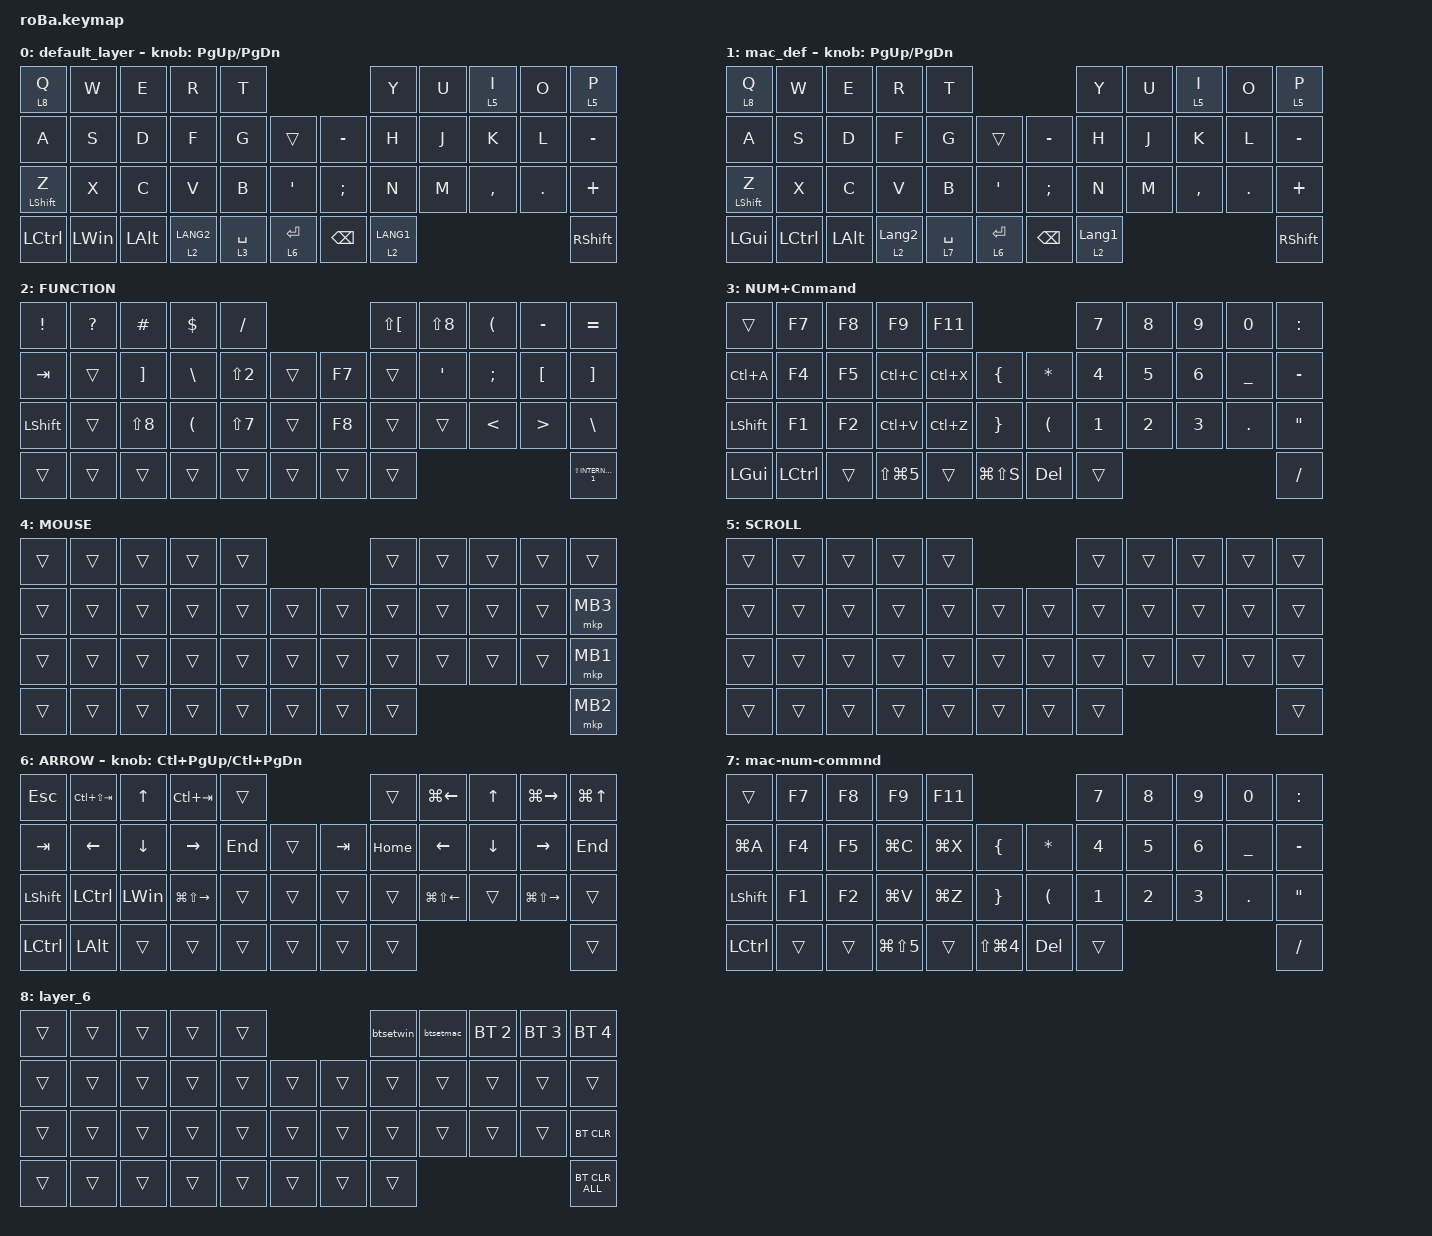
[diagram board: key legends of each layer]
#include <input/processors.dtsi>
#include <behaviors.dtsi>
#include <dt-bindings/zmk/bt.h>
#include <dt-bindings/zmk/keys.h>
#include <dt-bindings/zmk/pointing.h>

#define MOUSE 4 // 各自のマウスレイヤーに合わせて設定

&mkp_input_listener { input-processors = <&zip_temp_layer MOUSE 250>; };

&mt {
    flavor = "balanced";
    quick-tap-ms = <0>;
};

&trackball {
    automouse-layer = <4>;
    scroll-layers = <5>;

    // arrows {
    //     layers = <3>;
    //     bindings =
    //         <&kp RIGHT_ARROW>,
    //         <&kp LEFT_ARROW>,
    //         <&kp UP_ARROW>,
    //         <&kp DOWN_ARROW>;
    //     tick = <10>;
    //     wait-ms = <5>;
    //     tap-ms = <5>;
    // };
};

/ {
    combos { compatible = "zmk,combos"; };

    macros {
        btsetwin: to_layer_0 {
            compatible = "zmk,behavior-macro";
            #binding-cells = <0>;
            bindings = <&bt BT_SEL 0>, <&macro_wait_time 200>, <&to 0>;

            label = "TO_LAYER_0";
        };

        btsetmac: btsetmac {
            compatible = "zmk,behavior-macro";
            #binding-cells = <0>;
            bindings = <&bt BT_SEL 1>, <&macro_wait_time 200>, <&to 1>;

            label = "BTSETMAC";
        };

        BT3: BT3 {
            compatible = "zmk,behavior-macro";
            #binding-cells = <0>;
            bindings = <&bt BT_SEL 2>, <&macro_wait_time 200>, <&to 1>;

            label = "BT3";
        };
    };

    behaviors {
        lt_to_layer_0: lt_to_layer_0 {
            compatible = "zmk,behavior-hold-tap";
            label = "LAYER_TAP_TO_0";
            bindings = <&mo>, <&btsetwin>;

            #binding-cells = <2>;
            tapping-term-ms = <200>;
        };
    };

    keymap {
        compatible = "zmk,keymap";

        default_layer {
            bindings = <
&lt 8 Q           &kp W         &kp E         &kp R        &kp T                                        &kp Y        &kp U  &lt 5 I    &kp O    &lt 5 P
&kp A             &kp S         &kp D         &kp F        &kp G        &trans           &kp MINUS      &kp H        &kp J  &kp K      &kp L    &kp MINUS
&mt LEFT_SHIFT Z  &kp X         &kp C         &kp V        &kp B        &kp SQT          &kp SEMICOLON  &kp N        &kp M  &kp COMMA  &kp DOT  &kp PLUS
&kp LCTRL         &kp LEFT_WIN  &kp LEFT_ALT  &lt 2 LANG2  &lt 3 SPACE  &lt 6 ENTER      &kp BACKSPACE  &lt 2 LANG1                             &kp RIGHT_SHIFT
            >;

            sensor-bindings = <&inc_dec_kp PG_UP PAGE_DOWN>;
        };

        mac_def {
            bindings = <
&lt 8 Q           &kp W             &kp E         &kp R             &kp T                                        &kp Y             &kp U  &lt 5 I    &kp O    &lt 5 P
&kp A             &kp S             &kp D         &kp F             &kp G        &trans           &kp MINUS      &kp H             &kp J  &kp K      &kp L    &kp MINUS
&mt LEFT_SHIFT Z  &kp X             &kp C         &kp V             &kp B        &kp SQT          &kp SEMICOLON  &kp N             &kp M  &kp COMMA  &kp DOT  &kp PLUS
&kp LEFT_GUI      &kp LEFT_CONTROL  &kp LEFT_ALT  &lt 2 LANGUAGE_2  &lt 7 SPACE  &lt 6 ENTER      &kp BACKSPACE  &lt 2 LANGUAGE_1                             &kp RIGHT_SHIFT
            >;

            sensor-bindings = <&inc_dec_kp PG_UP PAGE_DOWN>;
        };

        FUNCTION {
            bindings = <
&kp EXCLAMATION  &kp QUESTION  &kp HASH           &kp DOLLAR            &kp SLASH                             &kp LS(LBKT)  &kp LS(N8)  &kp LEFT_PARENTHESIS  &kp MINUS         &kp EQUAL
&kp TAB          &trans        &kp RIGHT_BRACKET  &kp BSLH              &kp LS(NUMBER_2)  &trans      &kp F7  &trans        &kp SQT     &kp SEMICOLON         &kp LBKT          &kp RBKT
&kp LEFT_SHIFT   &trans        &kp LS(N8)         &kp LEFT_PARENTHESIS  &kp LS(NUMBER_7)  &trans      &kp F8  &trans        &trans      &kp LESS_THAN         &kp GREATER_THAN  &kp BSLH
&trans           &trans        &trans             &trans                &trans            &trans      &trans  &trans                                                            &kp LS(INTERNATIONAL_1)
            >;
        };

        NUM+Cmmand {
            bindings = <
&trans        &kp F7     &kp F8  &kp F9          &kp F11                                               &kp N7        &kp N8        &kp N9        &kp N0          &kp COLON
&kp LC(A)     &kp F4     &kp F5  &kp LC(C)       &kp LC(X)  &kp LEFT_BRACE       &kp ASTERISK          &kp NUMBER_4  &kp N5        &kp NUMBER_6  &kp UNDERSCORE  &kp MINUS
&kp LSHFT     &kp F1     &kp F2  &kp LC(V)       &kp LC(Z)  &kp RIGHT_BRACE      &kp LEFT_PARENTHESIS  &kp NUMBER_1  &kp NUMBER_2  &kp NUMBER_3  &kp PERIOD      &kp DOUBLE_QUOTES
&kp LEFT_GUI  &kp LCTRL  &trans  &kp LS(LG(N5))  &trans     &kp LG(LS(S))        &kp DEL               &trans                                                    &kp SLASH
            >;
        };

        MOUSE {
            bindings = <
&trans  &trans  &trans  &trans  &trans                      &trans  &trans  &trans  &trans  &trans
&trans  &trans  &trans  &trans  &trans  &trans      &trans  &trans  &trans  &trans  &trans  &mkp MB3
&trans  &trans  &trans  &trans  &trans  &trans      &trans  &trans  &trans  &trans  &trans  &mkp MB1
&trans  &trans  &trans  &trans  &trans  &trans      &trans  &trans                          &mkp MB2
            >;
        };

        SCROLL {
            bindings = <
&trans  &trans  &trans  &trans  &trans                      &trans  &trans  &trans  &trans  &trans
&trans  &trans  &trans  &trans  &trans  &trans      &trans  &trans  &trans  &trans  &trans  &trans
&trans  &trans  &trans  &trans  &trans  &trans      &trans  &trans  &trans  &trans  &trans  &trans
&trans  &trans  &trans  &trans  &trans  &trans      &trans  &trans                          &trans
            >;
        };

        ARROW {
            bindings = <
&kp ESCAPE      &kp LC(LS(TAB))   &kp UP_ARROW    &kp LC(TAB)              &trans                        &trans    &kp LG(LEFT_ARROW)      &kp UP_ARROW    &kp LG(RIGHT_ARROW)      &kp LG(UP_ARROW)
&kp TAB         &kp LEFT_ARROW    &kp DOWN_ARROW  &kp RIGHT_ARROW          &kp END  &trans      &kp TAB  &kp HOME  &kp LEFT_ARROW          &kp DOWN_ARROW  &kp RIGHT_ARROW          &kp END
&kp LEFT_SHIFT  &kp LEFT_CONTROL  &kp LEFT_WIN    &kp LG(LS(RIGHT_ARROW))  &trans   &trans      &trans   &trans    &kp LG(LS(LEFT_ARROW))  &trans          &kp LG(LS(RIGHT_ARROW))  &trans
&kp LCTRL       &kp LEFT_ALT      &trans          &trans                   &trans   &trans      &trans   &trans                                                                     &trans
            >;

            sensor-bindings = <&inc_dec_kp LC(PAGE_UP) LC(PAGE_DOWN)>;
        };

        mac-num-commnd {
            bindings = <
&trans     &kp F7  &kp F8  &kp F9          &kp F11                                                    &kp N7        &kp N8        &kp N9        &kp N0          &kp COLON
&kp LG(A)  &kp F4  &kp F5  &kp LG(C)       &kp LG(X)  &kp LEFT_BRACE            &kp ASTERISK          &kp NUMBER_4  &kp N5        &kp NUMBER_6  &kp UNDERSCORE  &kp MINUS
&kp LSHFT  &kp F1  &kp F2  &kp LG(V)       &kp LG(Z)  &kp RIGHT_BRACE           &kp LEFT_PARENTHESIS  &kp NUMBER_1  &kp NUMBER_2  &kp NUMBER_3  &kp PERIOD      &kp DOUBLE_QUOTES
&kp LCTRL  &trans  &trans  &kp LG(LS(N5))  &trans     &kp LS(LG(NUMBER_4))      &kp DEL               &trans                                                    &kp SLASH
            >;
        };

        layer_6 {
            bindings = <
&trans  &trans  &trans  &trans  &trans                      &btsetwin  &btsetmac  &bt BT_SEL 2  &bt BT_SEL 3  &bt BT_SEL 4
&trans  &trans  &trans  &trans  &trans  &trans      &trans  &trans     &trans     &trans        &trans        &trans
&trans  &trans  &trans  &trans  &trans  &trans      &trans  &trans     &trans     &trans        &trans        &bt BT_CLR
&trans  &trans  &trans  &trans  &trans  &trans      &trans  &trans                                            &bt BT_CLR_ALL
            >;
        };
    };
};
